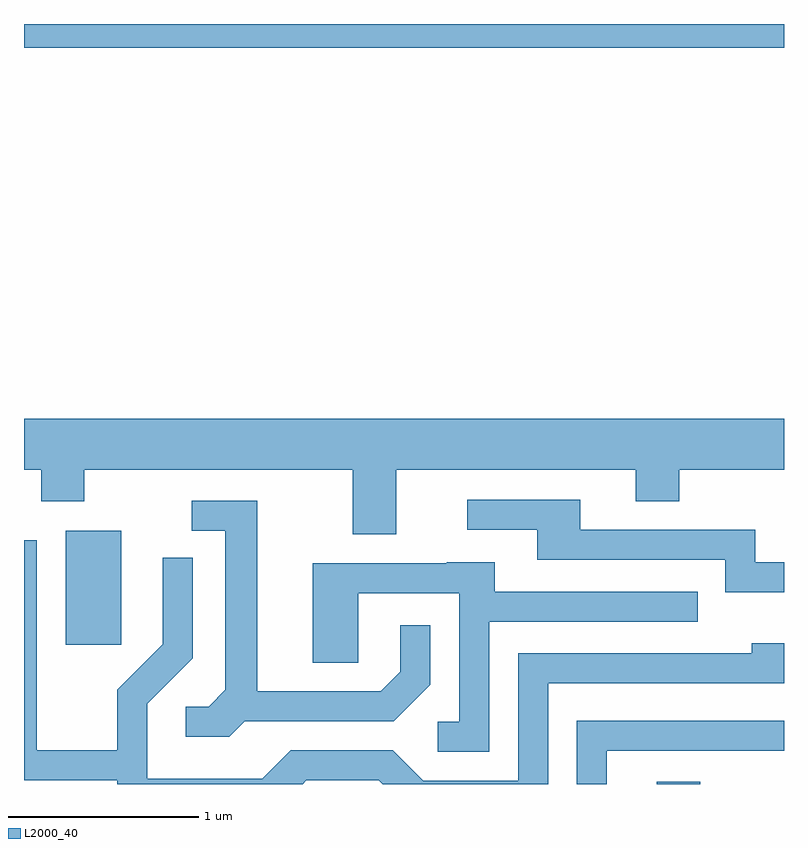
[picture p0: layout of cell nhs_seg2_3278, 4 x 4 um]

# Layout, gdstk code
import gdstk
lib = gdstk.Library(unit=1e-6, precision=1e-09)
def R(c, l, rs):  # rectangles x0, y0, x1, y1
    for r in rs: c.add(gdstk.rectangle(r[:2], r[2:], *l))
def P(c, l, *ps):  # polygons
    for p in ps: c.add(gdstk.Polygon(p, *l))
L2000_40 = (2000, 40)

nhs_seg2_3278 = lib.new_cell('nhs_seg2_3278')
R(nhs_seg2_3278, L2000_40, [(284.941,1017.802,285.169,1017.814), (281.831,1018.536,282.124,1019.134), (281.611,1021.676,285.611,1021.802)])
P(nhs_seg2_3278, L2000_40, [(283.569,1019.456),(284.831,1019.456),(284.831,1019.291),(285.059,1019.291),(285.059,1019.456),(285.611,1019.456),(285.611,1019.724),(281.611,1019.724),(281.611,1019.456),(281.701,1019.456),(281.701,1019.291),(281.929,1019.291),(281.929,1019.456),(283.341,1019.456),(283.341,1019.116),(283.569,1019.116)],
  [(285.611,1018.969),(285.459,1018.969),(285.459,1019.139),(284.539,1019.139),(284.539,1019.299),(283.943,1019.299),(283.943,1019.141),(284.311,1019.141),(284.311,1018.981),(285.301,1018.981),(285.301,1018.811),(285.611,1018.811)],
  [(282.772,1018.131),(283.557,1018.131),(283.749,1018.324),(283.749,1018.638),(283.591,1018.638),(283.591,1018.392),(283.489,1018.289),(282.839,1018.289),(282.839,1019.294),(282.493,1019.294),(282.493,1019.136),(282.671,1019.136),(282.671,1018.297),(282.584,1018.209),(282.463,1018.209),(282.463,1018.051),(282.692,1018.051)],
  [(283.097,1017.821),(283.479,1017.821),(283.498,1017.802),(284.369,1017.802),(284.369,1018.331),(285.611,1018.331),(285.611,1018.544),(285.441,1018.544),(285.441,1018.489),(284.211,1018.489),(284.211,1017.819),(283.712,1017.819),(283.552,1017.979),(283.014,1017.979),(282.864,1017.829),(282.259,1017.829),(282.259,1018.224),(282.499,1018.464),(282.499,1018.993),(282.341,1018.993),(282.341,1018.537),(282.101,1018.297),(282.101,1017.979),(281.679,1017.979),(281.679,1019.084),(281.611,1019.084),(281.611,1017.821),(282.101,1017.821),(282.101,1017.802),(283.078,1017.802)],
  [(284.059,1018.656),(285.158,1018.656),(285.158,1018.814),(284.089,1018.814),(284.089,1018.969),(283.835,1018.969),(283.835,1018.964),(283.131,1018.964),(283.131,1018.441),(283.369,1018.441),(283.369,1018.806),(283.901,1018.806),(283.901,1018.129),(283.788,1018.129),(283.788,1017.971),(284.059,1017.971)],
  [(284.679,1017.976),(285.611,1017.976),(285.611,1018.134),(284.521,1018.134),(284.521,1017.802),(284.679,1017.802)])

lib.write_gds('nhs_seg2_3278.gds')
